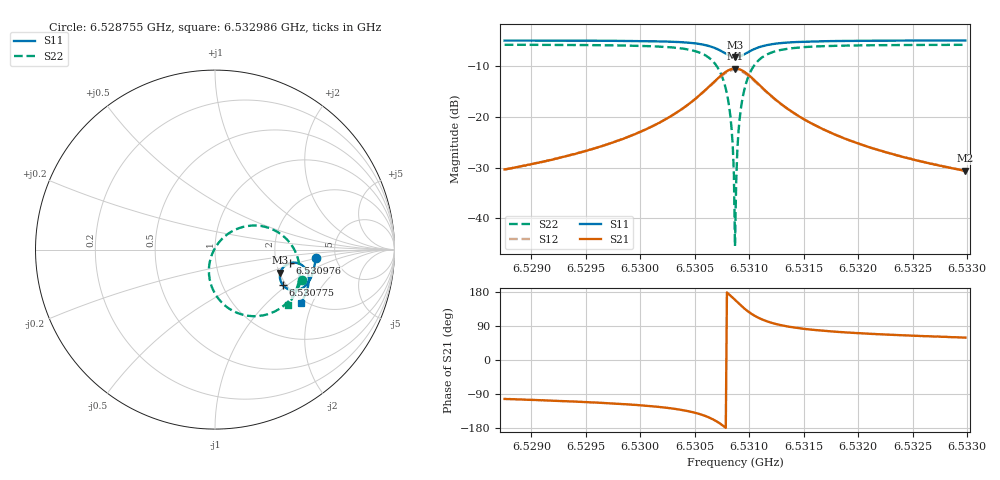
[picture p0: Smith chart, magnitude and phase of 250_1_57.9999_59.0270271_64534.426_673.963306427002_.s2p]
#  HZ  S  RI  R  50.00
! Rohde & Schwarz Vector Network Analyzer
! Rohde-Schwarz,ZNB20-2Port,1311601062101988,3.16
! Created: UTC 3/21/2024, 1:01:25 AM
! freq[Hz]  re:S11  im:S11  re:S21  im:S21  re:S12  im:S12  re:S22  im:S22
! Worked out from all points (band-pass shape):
!   401 points, 6.528755 GHz to 6.532986 GHz, reference 50 ohm
!   highest |S21| = -10.50 dB at 6.53087 GHz (marker M1); lowest = -30.6 dB at 6.532986 GHz (marker M2)
!   |S21| within 3 dB of the highest: 6.530659 GHz to 6.531083 GHz (423.4 kHz wide, 0.00648 % of centre)
!   lowest |S11| = -8.3 dB at 6.53087 GHz (marker M3), VSWR 2.26, Z = 101 - j30.5 ohm
!   |S11| at or under -10 dB: nowhere
!   |S22| runs from -45.5 to -5.8 dB; largest |S21 - S12| = 0.012
!   S11 on the Smith chart (normalised r, x): 6.528755 GHz: 3.50, -0.48; 6.530775 GHz: 1.92, -0.92; 6.530976 GHz: 2.38, -0.44; 6.532986 GHz: 1.88, -1.65
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6.5287547e9  0.5602 -0.0471  -0.00673 -0.0296  -0.0073 -0.0294  0.4833 -0.1671
6.5294634e9  0.5511 -0.1059  -0.0158 -0.0421  -0.0168 -0.0418  0.4527 -0.2313
6.530172e9  0.5243 -0.176  -0.0484 -0.0723  -0.0506 -0.0709  0.3725 -0.3207
6.5305951e9  0.4554 -0.2263  -0.1534 -0.0981  -0.1559 -0.0918  0.1709 -0.3664
6.5307009e9  0.4115 -0.2221  -0.2214 -0.0726  -0.2207 -0.0633  0.0567 -0.3122
6.5307749e9  0.3771 -0.1959  -0.2715 -0.0157  -0.2661 -0.00586  -0.0179 -0.2076
6.5308067e9  0.3664 -0.1764  -0.285 0.0219  -0.2771 0.0306  -0.0329 -0.1429
6.5308278e9  0.3624 -0.1611  -0.2883 0.0505  -0.2791 0.0578  -0.033 -0.0954
6.5308384e9  0.3617 -0.153  -0.288 0.0654  -0.2783 0.0716  -0.0296 -0.0713
6.530849e9  0.3617 -0.1448  -0.286 0.0801  -0.2759 0.0857  -0.0239 -0.0473
6.5308595e9  0.3627 -0.1366  -0.2828 0.0949  -0.2724 0.0996  -0.0158 -0.0237
6.5308701e9  0.3646 -0.1283  -0.2779 0.1093  -0.2674 0.1131  -0.00525 -0.0009
6.5308807e9  0.3673 -0.1204  -0.2717 0.1232  -0.2612 0.1261  0.00753 0.0207
6.5308913e9  0.3708 -0.1128  -0.2642 0.1365  -0.2537 0.1384  0.0223 0.0408
6.5309018e9  0.3751 -0.1057  -0.2555 0.1489  -0.2453 0.1497  0.0387 0.0593
6.530923e9  0.3856 -0.0934  -0.2351 0.1701  -0.2256 0.1695  0.0759 0.09
6.5309759e9  0.4177 -0.0752  -0.1763 0.2018  -0.1696 0.1988  0.1782 0.1311
6.5310499e9  0.4597 -0.075  -0.1028 0.2037  -0.0993 0.2009  0.3014 0.1202
6.5311557e9  0.4965 -0.0966  -0.0397 0.1738  -0.0378 0.172  0.403 0.0541
6.5315788e9  0.5225 -0.1756  0.015 0.084  0.0161 0.0837  0.4719 -0.1339
6.5322874e9  0.5041 -0.2475  0.0173 0.0403  0.018 0.04  0.4427 -0.2485
6.5329855e9  0.4779 -0.2997  0.0152 0.0252  0.0157 0.025  0.4074 -0.3085
